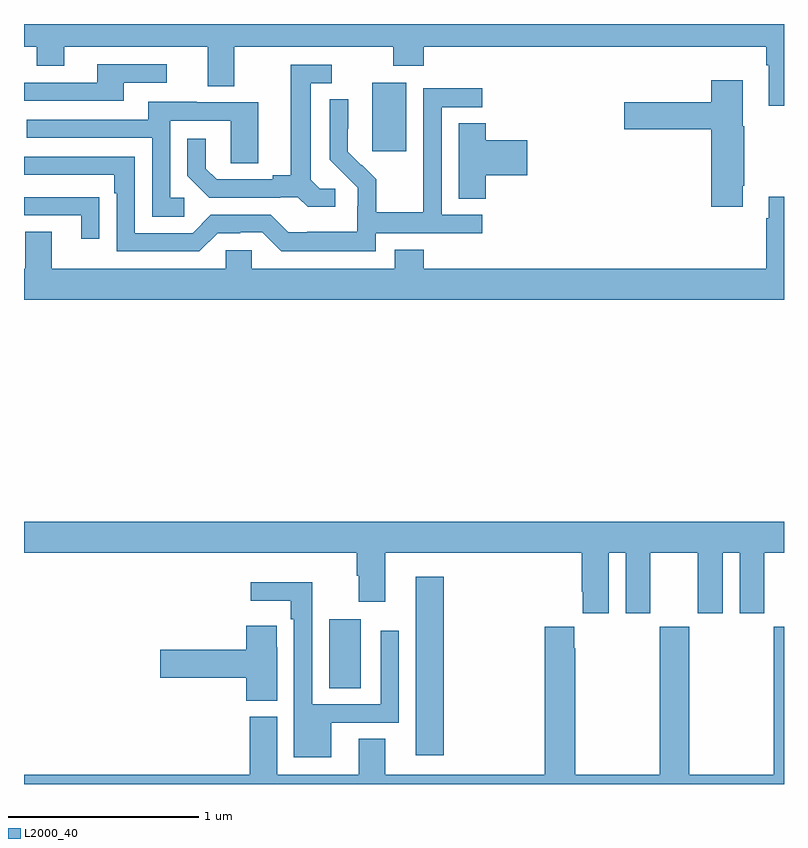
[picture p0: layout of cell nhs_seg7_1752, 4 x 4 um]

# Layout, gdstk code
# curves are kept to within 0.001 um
import gdstk
lib = gdstk.Library(unit=1e-6, precision=1e-09)
def R(c, l, rs):  # rectangles x0, y0, x1, y1
    for r in rs: c.add(gdstk.rectangle(r[:2], r[2:], *l))
def P(c, l, *ps):  # polygons
    for p in ps: c.add(gdstk.Polygon(p, *l))
L2000_40 = (2000, 40)

nhs_seg7_1752 = lib.new_cell('nhs_seg7_1752')
R(nhs_seg7_1752, L2000_40, [(231.062,1066.152,231.209,1067.092), (230.606,1066.504,230.773,1066.867), (230.834,1069.329,231.013,1069.69)])
P(nhs_seg7_1752, L2000_40, [(233,1070),(229,1070),(229,1069.88),(229.066,1069.88),(229.066,1069.781),(229.213,1069.781),(229.213,1069.88),(229.967,1069.88),(229.967,1069.672),(230.107,1069.672),(230.107,1069.88),(230.944,1069.88),(230.944,1069.781),(231.104,1069.781),(231.104,1069.88),(232.907,1069.88),(232.907,1069.784),(232.919,1069.784),(232.919,1069.569),(233,1069.569)],
  [(229.525,1069.692),(229.75,1069.692),(229.75,1069.788),(229.385,1069.788),(229.385,1069.692),(229,1069.692),(229,1069.596),(229.525,1069.596)],
  [(230.638,1069.134),(230.556,1069.134),(230.509,1069.181),(230.509,1069.689),(230.62,1069.689),(230.62,1069.785),(230.405,1069.785),(230.405,1069.205),(230.309,1069.205),(230.309,1069.182),(230.014,1069.182),(229.957,1069.239),(229.957,1069.396),(229.86,1069.396),(229.86,1069.202),(229.976,1069.086),(230.348,1069.086),(230.348,1069.089),(230.442,1069.089),(230.494,1069.037),(230.638,1069.037)],
  [(232.783,1069.15),(232.791,1069.15),(232.791,1069.461),(232.783,1069.461),(232.783,1069.705),(232.616,1069.705),(232.616,1069.587),(232.158,1069.587),(232.158,1069.445),(232.616,1069.445),(232.616,1069.038),(232.783,1069.038)],
  [(230.85,1068.9),(231.412,1068.9),(231.412,1068.996),(231.198,1068.996),(231.198,1069.563),(231.412,1069.563),(231.412,1069.662),(231.102,1069.662),(231.102,1069.232),(231.1,1069.232),(231.1,1069.009),(230.855,1069.009),(230.855,1069.183),(230.778,1069.26),(230.775,1069.257),(230.705,1069.328),(230.706,1069.604),(230.61,1069.604),(230.61,1069.286),(230.756,1069.138),(230.756,1069.041),(230.754,1069.041),(230.754,1068.907),(230.491,1068.907),(230.491,1068.903),(230.391,1068.903),(230.298,1068.996),(229.983,1068.996),(229.887,1068.9),(229.584,1068.9),(229.584,1069.302),(229,1069.302),(229,1069.206),(229.475,1069.206),(229.475,1069.109),(229.488,1069.109),(229.488,1068.804),(229.923,1068.804),(230.019,1068.9),(230.138,1068.9),(230.138,1068.903),(230.253,1068.903),(230.353,1068.803),(230.85,1068.803)],
  [(229.843,1069.086),(229.77,1069.086),(229.77,1069.491),(230.088,1069.491),(230.088,1069.267),(230.233,1069.267),(230.233,1069.587),(229.909,1069.587),(229.909,1069.591),(229.655,1069.591),(229.655,1069.497),(229.015,1069.497),(229.015,1069.401),(229.674,1069.401),(229.674,1068.985),(229.843,1068.985)],
  [(231.431,1069.205),(231.649,1069.205),(231.649,1069.388),(231.431,1069.388),(231.431,1069.478),(231.287,1069.478),(231.287,1069.081),(231.431,1069.081)],
  [(233,1069.09),(232.919,1069.09),(232.919,1068.977),(232.907,1068.977),(232.907,1068.712),(231.104,1068.712),(231.104,1068.811),(230.951,1068.811),(230.951,1068.712),(230.199,1068.712),(230.199,1068.81),(230.061,1068.81),(230.061,1068.712),(229.147,1068.712),(229.147,1068.907),(229.007,1068.907),(229.007,1068.712),(229,1068.712),(229,1068.548),(233,1068.548)],
  [(229.397,1069.088),(229.295,1069.088),(229.295,1069.089),(229,1069.089),(229,1068.993),(229.301,1068.993),(229.301,1068.87),(229.397,1068.87)],
  [(232.078,1067.216),(232.166,1067.216),(232.166,1066.899),(232.297,1066.899),(232.297,1067.216),(232.547,1067.216),(232.547,1066.899),(232.678,1066.899),(232.678,1067.216),(232.766,1067.216),(232.766,1066.899),(232.897,1066.899),(232.897,1067.216),(233,1067.216),(233,1067.38),(229,1067.38),(229,1067.216),(230.75,1067.216),(230.75,1067.096),(230.762,1067.096),(230.762,1066.959),(230.902,1066.959),(230.902,1067.216),(231.935,1067.216),(231.935,1067.011),(231.941,1067.011),(231.941,1066.899),(232.078,1066.899)],
  [(230.617,1066.323),(230.973,1066.323),(230.973,1066.807),(230.877,1066.807),(230.877,1066.419),(230.517,1066.419),(230.517,1067.062),(230.193,1067.062),(230.193,1066.964),(230.405,1066.964),(230.405,1066.868),(230.421,1066.868),(230.421,1066.142),(230.617,1066.142)],
  [(230.332,1066.721),(230.331,1066.721),(230.331,1066.834),(230.171,1066.834),(230.171,1066.706),(229.716,1066.706),(229.716,1066.559),(230.171,1066.559),(230.171,1066.438),(230.332,1066.438)],
  [(233,1066.828),(232.945,1066.828),(232.945,1066.048),(232.5,1066.048),(232.5,1066.828),(232.345,1066.828),(232.345,1066.048),(231.9,1066.048),(231.9,1066.715),(231.895,1066.715),(231.895,1066.828),(231.74,1066.828),(231.74,1066.048),(230.902,1066.048),(230.902,1066.238),(230.762,1066.238),(230.762,1066.048),(230.332,1066.048),(230.332,1066.353),(230.189,1066.353),(230.189,1066.048),(229,1066.048),(229,1066),(233,1066)])

lib.write_gds('nhs_seg7_1752.gds')
